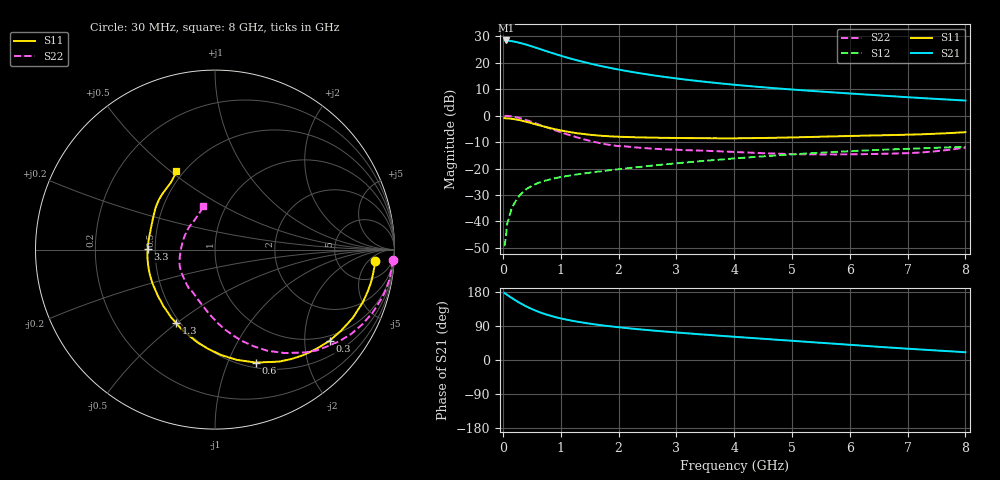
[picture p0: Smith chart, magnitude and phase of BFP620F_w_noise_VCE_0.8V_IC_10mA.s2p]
! Infineon Technologies  Discrete & RF Semiconductors
! BFP620F
! VCE =  0.8 V,  IC =  10 mA
! Common Emitter S-Parameters:  Dec 2014
# GHz  S  MA  R  50
!  f  S11  S21  S12  S22
! GHz  MAG  ANG  MAG  ANG  MAG  ANG  MAG  ANG
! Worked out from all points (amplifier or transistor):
!   95 points, 30 MHz to 8 GHz, reference 50 ohm
!   highest |S21| = 28.4 dB at 50 MHz (marker M1)
!   |S21| within 3 dB of that: start of sweep to 609.1 MHz
!   unconditionally stable (mu >= 1): 3.988 GHz to end of sweep
!   at 300 MHz: K = 0.16, MSG = 28.7 dB, |S12| = -29.9 dB
!   at 3.3 GHz: K = 0.96, MSG = 15.4 dB, |S12| = -17.4 dB
!   at 8 GHz: K = 1.09, MAG = 6.9 dB, |S12| = -11.8 dB
!   lowest NFmin = 0.60 dB at 450 MHz
!   S11 on the Smith chart (normalised r, x): 30 MHz: 13, -8; 300 MHz: 0.86, -2.61; 600 MHz: 0.56, -1.27; 1.3 GHz: 0.48, -0.50; 3.3 GHz: 0.45, +0.00; 8 GHz: 0.46, +0.52
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0.03  0.8962 -4.1  26.36 176.6  0.0034 85.6  0.9905 -3.2
0.05  0.8922 -6.9  26.43 174.4  0.0048 81.6  0.9889 -5.5
0.09  0.8877 -12.2  26.27 170.2  0.0102 86.2  0.9854 -9.9
0.15  0.8726 -20.1  25.73 164.1  0.0174 80.4  0.9667 -16.5
0.25  0.8355 -32.7  24.43 154.4  0.0271 73.9  0.9204 -26.9
0.3  0.816 -38.5  23.67 150.0  0.0319 71.2  0.8925 -31.8
0.4  0.7665 -50.1  22.12 141.7  0.0402 65.7  0.8255 -40.8
0.5  0.7186 -60.3  20.43 134.6  0.047 61.6  0.7606 -48.9
0.6  0.6692 -70.1  18.86 128.1  0.0528 58.0  0.6943 -56.1
0.7  0.6268 -78.7  17.34 122.6  0.0577 55.4  0.6349 -62.6
0.9  0.5544 -93.9  14.72 113.5  0.0656 51.5  0.53 -73.6
1.1  0.5013 -106.7  12.63 106.5  0.0719 49.5  0.4469 -83.1
1.3  0.4625 -118.0  11.01 100.8  0.0778 48.1  0.3824 -91.5
1.4  0.4494 -123.1  10.33 98.3  0.0807 47.6  0.3578 -95.5
1.6  0.4262 -132.5  9.162 93.8  0.0862 47.0  0.3157 -103.5
1.9  0.4039 -144.3  7.819 88.2  0.0943 46.4  0.2742 -115.0
2.7  0.382 -167.6  5.595 76.4  0.1169 44.7  0.2337 -139.0
3.3  0.376 179.8  4.615 69.1  0.1342 43.0  0.2205 -151.3
4.1  0.3738 165.7  3.756 60.2  0.1579 40.0  0.2035 -165.4
5.4  0.3973 148.0  2.906 46.4  0.1964 33.0  0.1851 167.5
6.7  0.4288 131.9  2.343 32.8  0.2294 24.5  0.1912 138.2
8  0.4871 116.2  1.93 20.5  0.2577 16.0  0.249 105.2
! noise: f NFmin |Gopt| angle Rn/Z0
0.45  0.6  0.26  8  0.22
0.9  0.67  0.25  19  0.19
1.5  0.73  0.24  21  0.15
1.8  0.75  0.22  24  0.13
1.9  0.76  0.18  38  0.15
2.4  0.81  0.15  54  0.13
3.5  0.91  0.14  75  0.12
5.5  1.08  0.11  178  0.1
6  1.12  0.1  207  0.16
